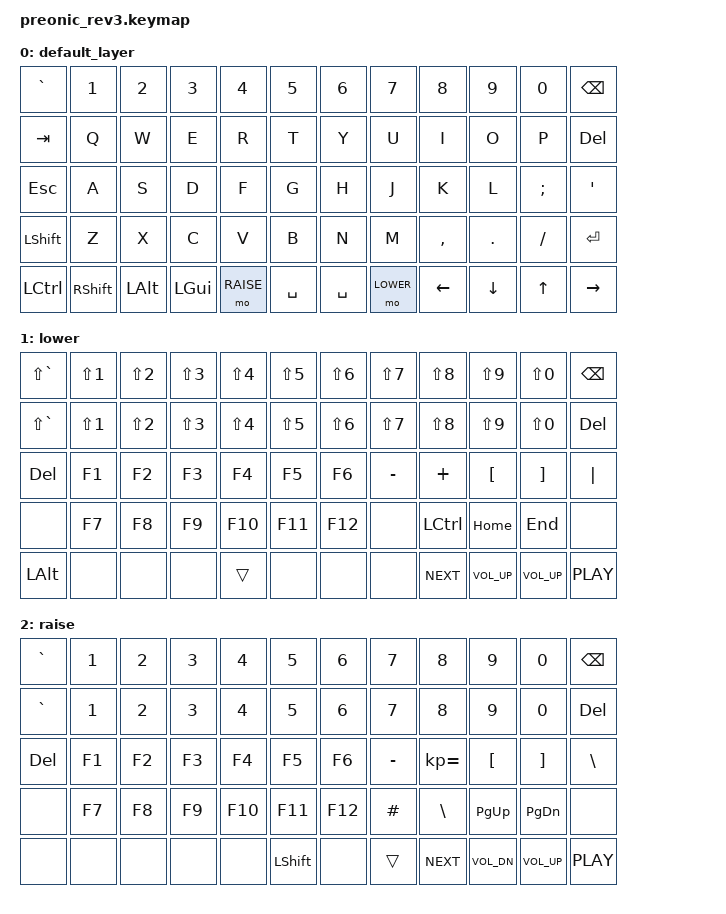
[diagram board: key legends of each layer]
/*
 * Copyright (c) 2022 The ZMK Contributors
 *
 * SPDX-License-Identifier: MIT
 */

#include <behaviors.dtsi>
#include <dt-bindings/zmk/keys.h>
#include <dt-bindings/zmk/bt.h>

#define DEFAULT 0
#define LOWER   1
#define RAISE   2

/ {
    keymap {
        compatible = "zmk,keymap";
        default_layer {
            /* Qwerty
             * ,-----------------------------------------------------------------------------------.
             * | GRAV |   1  |   2  |   3  |   4  |   5  |   6  |   7  |   8  |   9  |   0  | BSPC |
             * |------+------+------+------+------+------+------+------+------+------+------+------|
             * | TAB  |   Q  |   W  |   E  |   R  |   T  |   Y  |   U  |   I  |   O  |   P  | DEL  |
             * |------+------+------+------+------+-------------+------+------+------+------+------|
             * | ESC  |   A  |   S  |   D  |   F  |   G  |   H  |   J  |   K  |   L  |   ;  |  '   |
             * |------+------+------+------+------+------|------+------+------+------+------+------|
             * | SHIFT|   Z  |   X  |   C  |   V  |   B  |   N  |   M  |   ,  |   .  |   /  |ENTER |
             * |------+------+------+------+------+------+------+------+------+------+------+------|
             * | CTRL |SHIFT | LALT | LGUI |RAISE |    SPACE    |LOWER | LEFT | DOWN |  UP  |RIGHT |
             * `-----------------------------------------------------------------------------------'
             */
            bindings = <
                &kp GRAVE   &kp N1     &kp N2    &kp N3    &kp N4     &kp N5     &kp N6     &kp N7     &kp N8     &kp N9    &kp N0     &kp BSPC
                &kp TAB     &kp Q      &kp W     &kp E     &kp R      &kp T      &kp Y      &kp U      &kp I      &kp O     &kp P      &kp DEL
                &kp ESC     &kp A      &kp S     &kp D     &kp F      &kp G      &kp H      &kp J      &kp K      &kp L     &kp SEMI   &kp SQT
                &kp LSHIFT  &kp Z      &kp X     &kp C     &kp V      &kp B      &kp N      &kp M      &kp COMMA  &kp DOT   &kp SLASH  &kp RET
                &kp LCTRL   &kp RSHIFT &kp LALT  &kp LGUI  &mo RAISE  &kp SPACE  &kp SPACE  &mo LOWER  &kp LEFT   &kp DOWN  &kp UP     &kp RIGHT
                >;
        };
        lower {
            // ------------------------------------------------------------------------------------------
            // |   ~   |  !   |  @   |  #   |  $   |  %   |   ^   |   &   |   *  |  (   |   )   | BSPC  |
            // |   ~   |  !   |  @   |  #   |  $   |  %   |   ^   |   &   |   *  |  (   |   )   | DEL   |
            // |  DEL  |  F1  |  F2  |  F3  |  F4  |  F5  |  F6   |   -   |   +  |  [   |   ]   |  |    |
            // |       |  F7  |  F8  |  F9  |  F10 |  F11 |  F12  |       | LCTL | HOME |  END  |       |
            // | LALT  |      |      |      |      |      |       |       | NEXT | VOL- | VOL+  | PLAY  |
            bindings = <
                &kp LS(GRAVE)  &kp LS(N1)  &kp LS(N2)  &kp LS(N3)  &kp LS(N4)  &kp LS(N5)  &kp LS(N6)  &kp LS(N7)  &kp LS(N8)  &kp LS(N9)        &kp LS(N0)         &kp BSPC
                &kp LS(GRAVE)  &kp LS(N1)  &kp LS(N2)  &kp LS(N3)  &kp LS(N4)  &kp LS(N5)  &kp LS(N6)  &kp LS(N7)  &kp LS(N8)  &kp LS(N9)        &kp LS(N0)         &kp DEL
                &kp DEL        &kp F1      &kp F2      &kp F3      &kp F4      &kp F5      &kp F6      &kp MINUS   &kp PLUS    &kp LEFT_BRACKET  &kp RIGHT_BRACKET  &kp PIPE
                &none          &kp F7      &kp F8      &kp F9      &kp F10     &kp F11     &kp F12     &none       &kp LCTRL   &kp HOME          &kp END            &none
                &kp LALT       &none       &none       &none       &trans      &none       &none       &none       &kp C_NEXT  &kp C_VOL_UP      &kp C_VOL_UP       &kp C_PLAY
                >;
        };
        raise {
            // -------------------------------------------------------------------------------------------
            // |   `   |  1   |  2   |  3   |  4   |   5   |   6   |   7   |   8  |  9   |   0   | BSPC  |
            // |   `   |  1   |  2   |  3   |  4   |   5   |   6   |   7   |   8  |  9   |   0   | DEL   |
            // |  DEL  |  F1  |  F2  |  F3  |  F4  |  F5   |  F6   |   -   |   =  |  [   |   ]   |  \    |
            // |       |  F7  |  F8  |  F9  |  F10 |  F11  |  F12  |   #   |   \  | PGUP |  PGDN |       |
            // |       |      |      |      |      | SHIFT |       |       | NEXT | VOL- |  VOL+ | PLAY  |
            bindings = <
                &kp GRAVE  &kp N1  &kp N2  &kp N3  &kp N4   &kp N5      &kp N6   &kp N7     &kp N8        &kp N9            &kp N0             &kp BSPC
                &kp GRAVE  &kp N1  &kp N2  &kp N3  &kp N4   &kp N5      &kp N6   &kp N7     &kp N8        &kp N9            &kp N0             &kp DEL
                &kp DEL    &kp F1  &kp F2  &kp F3  &kp F4   &kp F5      &kp F6   &kp MINUS  &kp KP_EQUAL  &kp LEFT_BRACKET  &kp RIGHT_BRACKET  &kp BSLH
                &none      &kp F7  &kp F8  &kp F9  &kp F10  &kp F11     &kp F12  &kp HASH   &kp BSLH      &kp PG_UP         &kp PG_DN          &none
                &none      &none   &none   &none   &none    &kp LSHIFT  &none    &trans     &kp C_NEXT    &kp C_VOL_DN      &kp C_VOL_UP       &kp C_PLAY
                >;
        };
    };
};
